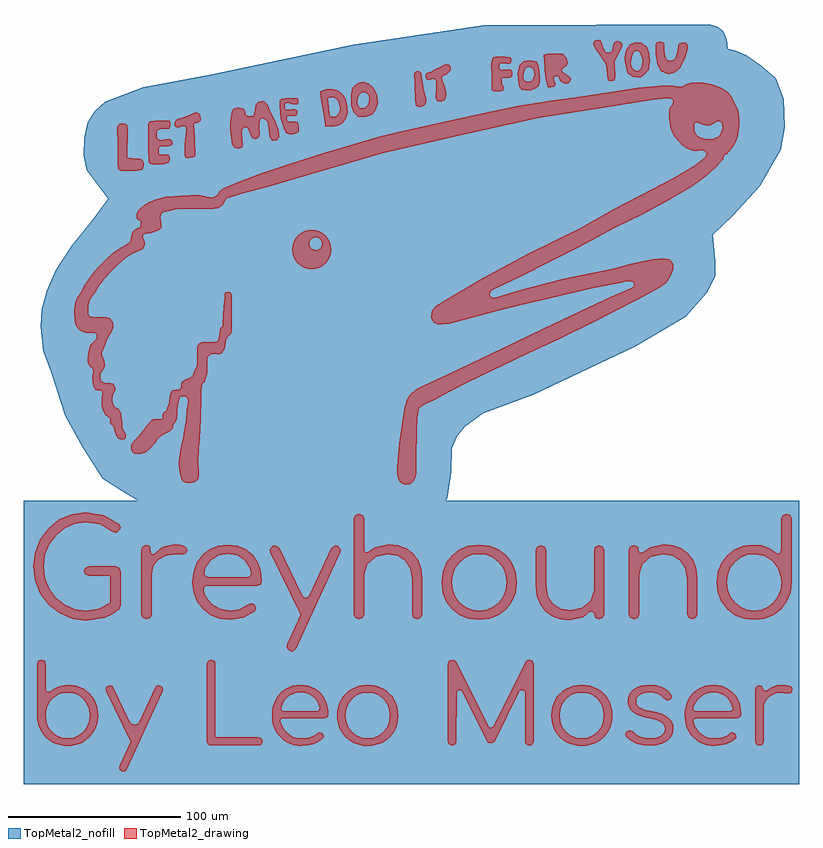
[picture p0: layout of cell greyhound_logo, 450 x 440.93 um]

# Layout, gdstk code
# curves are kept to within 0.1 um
import gdstk
lib = gdstk.Library(unit=1e-6, precision=1e-09)
def R(c, l, rs):  # rectangles x0, y0, x1, y1
    for r in rs: c.add(gdstk.rectangle(r[:2], r[2:], *l))
def P(c, l, *ps):  # polygons
    for p in ps: c.add(gdstk.Polygon(p, *l))
TopMetal2_drawing = (134, 0)
TopMetal2_nofill = (134, 23)

greyhound_logo = lib.new_cell('greyhound_logo')
P(greyhound_logo, TopMetal2_drawing, [(198.46,395.44),(194.18,395.61),(191.615,398.22),(190.12,401.855),(189.95,405.96),(190.23,409.745),(197.245,409.745),(195.895,409.385),(194.97,408.59),(194.14,407.33),(193.7,406.13),(193.505,403.315),(193.965,401.685),(194.69,400.965),(195.55,400.4),(196.67,400.385),(197.73,400.575),(199.615,402.2),(200.22,403.565),(200.555,405.065),(200.425,407.2),(199.89,408.265),(199.295,409.025),(198.36,409.61),(197.245,409.745),(190.23,409.745),(190.63,411.99),(192.3,413.7),(194.265,415.24),(197.045,415.755),(200.295,414.645),(203.12,412.12),(205,407.67),(205.3,403.225),(203.975,399.16),(201.795,396.85)],
  [(293.555,410.51),(289.08,411.235),(287.505,412.925),(286.9,416.615),(286.66,420.79),(287.438,424.48),(293.25,424.48),(292.065,424.265),(291.09,423.64),(290.5,422.33),(289.985,420.61),(289.82,419.42),(289.865,417.765),(290.48,416.795),(291.435,415.89),(292.405,415.74),(293.435,415.77),(294.44,416.285),(295.31,416.98),(295.985,418.41),(296.52,420.065),(296.29,421.72),(295.85,423.15),(294.6,424.01),(293.25,424.48),(287.438,424.48),(287.565,425.085),(290.105,427.805),(293.215,428.2),(295.225,428.05),(297.605,427.505),(298.935,424.3),(299.42,418.795),(299.36,415.83),(298.755,413.595),(297.06,412.02)],
  [(357.42,418.32),(353.4,418.665),(350.49,420.845),(349.165,425.165),(348.61,428.925),(349.04,432.05),(349.628,433.76),(355.025,433.76),(353.725,432.665),(352.93,431.195),(352.445,429.18),(352.16,426.615),(352.57,424.895),(353.23,423.28),(354.57,422.5),(356.135,422.085),(357.29,422.765),(358.36,423.665),(358.975,425.705),(359.26,428.24),(358.115,431.84),(357.415,433.04),(356.465,433.705),(349.628,433.76),(349.98,434.785),(351.945,437.695),(355.07,438.85),(358.36,438.38),(361.485,436.155),(362.98,432.52),(363.32,427.13),(362.725,422.77),(359.86,419.775)],
  [(222.065,182.075),(220.555,182.255),(218.5,183.645),(217.23,185.52),(216.685,188.12),(216.685,192.235),(218.015,205.78),(220.435,223.685),(221.105,226.97),(222.295,231.155),(223.155,232.875),(225.535,235.46),(226.91,236.61),(228.9,237.96),(231.14,239.105),(322.775,282.73),(353.06,296.48),(353.83,297.12),(354.105,297.7),(354.235,298.575),(353.595,299.625),(352.115,300.22),(351.11,300.2),(349.51,300.01),(346.535,299.195),(329.92,296.05),(305.2,290.38),(287.7,286.13),(275.09,282.96),(255.605,277.75),(246.785,275.61),(242.805,275.18),(240.325,275.31),(238.315,276.165),(237.12,277.405),(236.565,279.115),(237.035,283.18),(239,285.66),(266.46,302.005),(292.71,316.035),(322.765,330.915),(342.24,341.895),(377.565,360.285),(389.71,367.555),(395.695,372.43),(396.16,373.98),(396.04,374.585),(394.95,375.82),(393.77,376.035),(391.505,375.73),(388.45,375.885),(384.82,377.305),(382.19,379.04),(377.585,383.915),(375.93,387.165),(375.08,390.065),(374.748,393.075),(403.115,393.075),(402.555,393),(401.685,392.58),(398.985,390.86),(398.21,390.565),(395.55,390.55),(393.865,391.02),(390.895,392.31),(390.185,392.235),(389.385,391.68),(389.14,391.27),(388.9,390.085),(389.14,387.715),(389.73,386.05),(390.88,384.555),(392.235,383.72),(393.865,382.99),(397.03,382.47),(398.87,382.575),(401.655,383.26),(402.515,383.69),(403.8,384.76),(404.385,385.655),(405.475,389.175),(405.335,390.985),(405.12,391.795),(404.78,392.34),(403.63,393),(403.115,393.075),(374.748,393.075),(374.415,396.78),(374.415,399.105),(374.845,400.725),(376.48,402.97),(376.835,403.9),(376.485,405.34),(376,405.84),(375.22,406.19),(374.225,406.31),(365.04,405.305),(299.24,394.965),(249.435,384.065),(208.04,374.315),(142.86,355.155),(126.1,350.88),(117.845,348.225),(116.86,346.985),(116.495,346.09),(115.3,344.25),(113.93,343.245),(112.5,342.56),(110.175,342.285),(97.535,342.285),(88.95,341.8),(81.025,340.11),(79.875,339.2),(79.21,337.63),(79.39,335.575),(80.12,331.46),(78.79,329.95),(75.58,328.495),(69.415,327.225),(69.11,326.015),(69.415,324.745),(69.99,323.895),(70.33,321.885),(70.03,320.47),(68.96,318.975),(67.765,318.12),(62.94,315.975),(59.19,313.74),(54.17,309.385),(50.545,305.635),(47.155,301.885),(43.77,297.71),(41.59,293.72),(38.63,289.91),(37.6,286.16),(37.36,281.26),(37.965,279.69),(45.28,279.265),(48.005,279.265),(49.94,278.6),(51.39,276.905),(51.995,274.97),(51.875,273.4),(51.33,271.645),(48.005,265.415),(45.4,258.76),(45.22,257.31),(46.13,255.68),(46.855,253.925),(47.095,251.445),(46.735,249.995),(46.16,249.015),(44.92,247.45),(44.555,245.76),(44.435,244.095),(44.73,242.78),(45.085,242.145),(45.795,241.685),(46.885,241.27),(48.485,241.04),(50.59,240.99),(51.835,240.555),(52.67,239.455),(53.08,238.325),(53.045,236.815),(51.655,233.995),(51.45,232.09),(51.875,228.46),(53.265,227.07),(54.745,226.225),(55.805,224.77),(56.23,223.805),(56.71,221.87),(57.135,218.605),(57.255,217.335),(57.165,215.82),(57.62,214.34),(59.01,211.83),(59.345,210.62),(59.19,209.59),(58.525,208.745),(57.62,208.29),(56.045,208.32),(55.14,208.865),(54.355,209.65),(52.995,211.92),(52.625,214.755),(52.325,215.565),(50.615,217.15),(50.275,217.79),(50.19,220.055),(49.845,220.87),(48.35,221.68),(47.45,222.75),(45.74,225.83),(45.355,227.755),(45.155,232.13),(45.785,234.665),(45.515,235.985),(45.1,236.52),(44.42,236.855),(42.34,236.965),(41.745,237.24),(41.2,237.765),(40.38,239.71),(40.05,241.435),(39.91,244.755),(40.475,248.51),(40.24,249.2),(39.78,249.75),(38.9,250.325),(37.995,251.475),(37.27,252.865),(37.235,255.92),(37.66,259.365),(38.445,262.03),(39.185,263.515),(41.515,265.93),(42.31,267.165),(42.46,268.21),(42.16,269.415),(41.63,269.93),(40.775,270.15),(36.08,270.3),(34.72,270.615),(31.945,272.355),(30.98,273.55),(29.92,275.455),(29.615,277.935),(29.405,282.56),(29.645,285.765),(30.1,288.82),(33.155,293.6),(35.735,298.49),(39.795,304.265),(43.645,308.625),(51.815,316.41),(55.49,319.015),(61.67,322.72),(62.08,323.945),(62.275,325.91),(62.955,328.21),(63.895,329.345),(65.435,330.585),(67.51,331.74),(67.895,332.465),(68.02,333.965),(67.595,335.095),(65.71,336.425),(65.585,338.99),(66.565,341),(68.62,343.18),(70.76,344.85),(73.025,346.345),(77.09,347.63),(82.645,349.04),(86.965,349.55),(91.285,349.85),(96.845,349.98),(102.535,349.895),(109.16,348.57),(110.66,349.08),(112.54,350.365),(113.695,352.245),(114.775,353.245),(116.175,354.13),(120.025,355.925),(126.44,358.49),(137.39,362.595),(153.64,368.07),(174.595,374.655),(207.19,384.2),(222.065,387.83),(242.87,392.305),(266.58,397.625),(287.145,401.98),(324.64,407.425),(356.335,412.385),(369.52,413.47),(377.18,413.445),(379.7,412.93),(380.855,412.93),(382.355,413.4),(384.405,414.47),(387.4,415.2),(390.82,415.37),(394.585,415.2),(398.945,414.515),(402.325,413.315),(405.575,411.735),(408.525,409.68),(410.495,407.5),(411.775,405.19),(414.43,399.205),(414.9,396.465),(415.155,390.82),(414.385,384.235),(412.76,380.345),(411.05,377.69),(409.34,375.51),(407.8,373.93),(406.11,372.77),(405.625,370.59),(400.905,365.69),(395.825,360.975),(387.845,355.35),(374.475,347.305),(359.235,339.08),(343.51,331.34),(321.45,319.645),(289.87,303.75),(272.24,295.12),(271.345,294.61),(270.545,293.7),(270.325,292.96),(270.39,292.245),(271.035,291.185),(271.62,290.86),(272.455,290.665),(273.495,290.67),(287.775,294.94),(312.045,301.355),(342.065,307.385),(352.4,310.23),(365.3,312.82),(368.49,313.195),(372.61,313.255),(374.58,312.865),(375.745,311.745),(376.835,309.93),(376.955,307.51),(376.11,304.85),(373.325,300.045),(372.24,298.74),(370.755,297.67),(355.305,289.005),(329.175,275.695),(311.575,266.99),(292.285,258.095),(257.69,241.585),(243,233.845),(232.775,228.68),(230.29,227.25),(229.2,226.045),(228.4,221.165),(227.935,213.46),(227.63,197.675),(227.87,188.605),(227.145,186.065),(226.18,184.43),(225.15,183.345),(223.7,182.375)],
  [(167.105,307.205),(164.885,307.425),(162.765,308.065),(160.815,309.11),(159.085,310.525),(157.67,312.255),(156.625,314.205),(155.985,316.325),(155.765,318.545),(155.985,320.77),(156.625,322.885),(157.67,324.84),(158.388,325.715),(169.51,325.715),(168.03,325.42),(166.82,324.61),(166,323.415),(165.705,321.95),(166,320.485),(166.82,319.29),(168.03,318.485),(168.745,318.265),(169.51,318.185),(170.97,318.475),(172.205,319.29),(173.03,320.51),(173.32,321.95),(173.03,323.39),(172.205,324.61),(170.97,325.43),(169.51,325.715),(158.388,325.715),(159.085,326.565),(160.815,327.985),(162.765,329.025),(164.885,329.67),(167.105,329.89),(169.33,329.67),(171.445,329.025),(173.4,327.985),(175.125,326.565),(176.545,324.84),(177.585,322.885),(178.23,320.77),(178.45,318.545),(178.23,316.325),(177.585,314.205),(176.545,312.255),(175.125,310.525),(173.4,309.11),(171.445,308.065),(169.33,307.425)],
  [(119.705,103.605),(113.75,104.295),(108.47,106.355),(104.05,109.715),(100.69,114.135),(98.63,119.475),(97.94,125.45),(98.59,131.46),(100.535,136.76),(103.695,141.22),(104.6,141.945),(118.525,141.945),(113.065,141.025),(108.625,138.255),(105.465,133.975),(104.92,132.155),(104.755,130.625),(105,129.5),(106.09,128.835),(107.63,128.515),(129.52,128.515),(130.51,128.675),(131.42,129.175),(131.955,130.04),(131.98,130.85),(131.175,133.975),(128.19,138.255),(123.885,141.025),(118.525,141.945),(104.6,141.945),(107.84,144.54),(112.87,146.66),(118.525,147.37),(124.005,146.68),(128.815,144.62),(132.785,141.415),(135.73,137.155),(137.615,132.03),(138.245,126.235),(137.46,124.19),(135.415,123.485),(107.435,123.485),(105.895,123.34),(104.925,122.935),(104.35,121.815),(104.425,120.705),(105.245,117.65),(108.705,113.035),(113.655,110.03),(119.705,109.03),(125.36,109.97),(129.995,112.485),(132.115,113.27),(133.845,112.64),(134.865,110.52),(134.005,108.715),(127.405,105.02)],
  [(264.265,103.605),(258.355,104.315),(253.03,106.435),(248.61,109.795),(245.25,114.215),(243.13,119.535),(242.425,125.45),(243.13,131.36),(245.25,136.685),(248.61,141.16),(249.538,141.87),(264.265,141.87),(259.985,141.34),(256.095,139.745),(252.855,137.215),(250.36,133.855),(248.825,129.905),(248.315,125.45),(248.825,121.03),(250.36,117.04),(252.855,113.74),(256.095,111.23),(259.985,109.635),(264.265,109.105),(268.585,109.635),(272.435,111.23),(275.66,113.74),(278.095,117.04),(279.625,121.03),(280.135,125.45),(279.625,129.905),(278.095,133.855),(275.66,137.215),(272.435,139.745),(268.585,141.34),(264.265,141.87),(249.538,141.87),(253.03,144.54),(258.355,146.66),(264.265,147.37),(270.16,146.66),(275.42,144.54),(279.84,141.16),(283.2,136.685),(285.38,131.36),(286.105,125.45),(285.4,119.535),(283.28,114.215),(279.9,109.795),(275.42,106.435),(270.16,104.315)],
  [(423.83,103.605),(417.98,104.315),(412.675,106.435),(408.235,109.875),(404.82,114.37),(402.695,119.675),(401.99,125.525),(402.675,131.36),(404.74,136.605),(408.06,141.085),(409.06,141.87),(423.83,141.87),(419.55,141.34),(415.66,139.745),(412.42,137.215),(409.925,133.855),(408.395,129.925),(407.88,125.525),(408.395,121.11),(409.925,117.12),(412.42,113.8),(415.66,111.23),(419.55,109.635),(423.83,109.105),(428.095,109.635),(431.925,111.23),(435.145,113.8),(437.58,117.12),(439.17,121.11),(439.7,125.525),(439.545,127.885),(437.855,133.46),(434.36,137.94),(429.565,140.885),(423.83,141.87),(409.06,141.87),(412.36,144.46),(417.505,146.64),(423.2,147.37),(428.095,146.82),(432.55,145.17),(436.42,142.635),(437.51,142.145),(438.83,142.615),(439.36,143.675),(439.545,144.73),(439.545,162.295),(440.41,164.495),(442.61,165.36),(444.73,164.495),(445.595,162.295),(445.67,125.525),(444.945,119.675),(442.765,114.37),(439.385,109.875),(434.91,106.435),(429.665,104.315)],
  [(25.53,30.51),(23.105,30.65),(20.79,31.08),(18.585,31.795),(16.49,32.8),(14.59,34.085),(12.895,35.585),(11.405,37.3),(10.125,39.23),(9.12,41.325),(8.405,43.525),(7.975,45.845),(7.83,48.27),(7.83,61.515),(25.53,61.515),(23.11,61.315),(20.865,60.715),(18.81,59.725),(16.935,58.33),(15.365,56.625),(14.15,54.7),(13.295,52.55),(12.735,49.86),(12.67,48.27),(13.085,44.69),(14.325,41.46),(16.345,38.77),(18.975,36.685),(22.075,35.395),(25.53,34.965),(28.985,35.395),(32.09,36.685),(34.745,38.77),(36.735,41.46),(38.025,44.69),(38.455,48.27),(38.025,51.835),(36.735,55.02),(34.745,57.74),(32.09,59.795),(28.985,61.085),(25.53,61.515),(7.83,61.515),(7.895,78.065),(8.055,79.055),(8.53,79.85),(9.33,80.375),(10.315,80.55),(11.3,80.375),(12.095,79.85),(12.625,79.055),(12.8,78.065),(12.815,63.085),(13.23,62.325),(14.075,61.875),(14.91,61.93),(18.465,64.185),(22.075,65.525),(26.04,65.97),(28.4,65.825),(30.64,65.38),(32.76,64.645),(34.765,63.615),(36.63,62.355),(38.28,60.875),(39.715,59.175),(40.94,57.25),(41.94,55.185),(42.66,53),(43.085,50.695),(43.23,48.27),(43.085,45.845),(42.64,43.525),(41.905,41.325),(40.875,39.23),(39.62,37.3),(38.135,35.585),(36.435,34.085),(34.51,32.8),(32.445,31.795),(30.26,31.08),(27.955,30.65)],
  [(161.715,30.51),(159.235,30.645),(156.895,31.065),(154.685,31.76),(152.61,32.735),(150.715,33.99),(149.03,35.455),(147.56,37.14),(146.31,39.04),(145.335,41.14),(144.635,43.37),(144.22,45.725),(144.08,48.205),(144.21,50.715),(144.605,53.075),(145.26,55.295),(146.18,57.375),(147.365,59.295),(149.378,61.575),(160.76,61.575),(158.445,61.39),(156.335,60.83),(154.435,59.895),(152.74,58.585),(151.3,56.97),(150.175,55.115),(149.36,53.02),(149.665,51.34),(150.43,50.87),(151.21,50.69),(170.255,50.69),(170.805,50.85),(171.495,51.45),(171.745,53.02),(171.01,55.115),(169.96,56.97),(168.595,58.585),(166.955,59.895),(165.105,60.83),(163.04,61.39),(160.76,61.575),(149.378,61.575),(150.325,62.45),(152.1,63.675),(154.075,64.68),(156.175,65.395),(158.405,65.825),(160.76,65.97),(163.05,65.83),(165.2,65.415),(167.22,64.715),(169.1,63.74),(170.81,62.55),(172.315,61.145),(173.615,59.53),(174.705,57.695),(175.595,55.685),(176.23,53.54),(176.615,51.26),(176.74,48.845),(176.58,47.92),(176.105,47.19),(175.375,46.76),(174.45,46.615),(150.355,46.595),(149.55,46.445),(149.19,46.1),(148.94,44.9),(149.105,43.895),(150,41.89),(151.21,39.895),(152.8,38.15),(154.695,36.725),(156.815,35.715),(159.155,35.105),(161.715,34.9),(164.01,35.09),(166.3,35.665),(168.415,36.585),(170.9,38.18),(171.775,38.34),(173.175,37.83),(173.795,37.015),(174.005,36.11),(173.83,35.33),(173.305,34.645),(170.915,33.005),(167.955,31.655),(164.77,30.795)],
  [(199.6,30.51),(197.145,30.65),(194.805,31.08),(192.59,31.795),(190.495,32.8),(188.595,34.055),(186.915,35.52),(185.445,37.205),(184.19,39.105),(183.19,41.2),(182.47,43.415),(182.04,45.75),(181.9,48.205),(182.04,50.66),(182.47,53),(183.19,55.215),(184.19,57.31),(185.445,59.235),(187.568,61.515),(199.6,61.515),(196.13,61.085),(192.975,59.795),(190.35,57.74),(188.33,55.02),(187.085,51.82),(186.675,48.205),(187.085,44.625),(188.33,41.395),(190.35,38.72),(192.975,36.685),(196.13,35.395),(199.6,34.965),(203.1,35.395),(206.22,36.685),(208.83,38.72),(210.805,41.395),(212.045,44.625),(212.46,48.205),(212.045,51.82),(210.805,55.02),(208.83,57.74),(206.22,59.795),(203.1,61.085),(199.6,61.515),(187.568,61.515),(188.595,62.42),(190.495,63.675),(192.59,64.68),(194.805,65.395),(197.145,65.825),(199.6,65.97),(202.05,65.825),(204.375,65.395),(206.57,64.68),(208.64,63.675),(210.54,62.42),(212.22,60.94),(213.69,59.235),(214.945,57.31),(215.975,55.215),(216.71,53),(217.15,50.66),(217.3,48.205),(217.155,45.75),(216.725,43.415),(216.01,41.2),(215.005,39.105),(213.75,37.205),(212.27,35.52),(210.565,34.055),(208.64,32.8),(206.57,31.795),(204.375,31.08),(202.05,30.65)],
  [(323.815,30.51),(321.36,30.65),(319.02,31.08),(316.805,31.795),(314.71,32.8),(312.81,34.055),(311.13,35.52),(309.66,37.205),(308.405,39.105),(307.405,41.2),(306.685,43.415),(306.255,45.75),(306.115,48.205),(306.255,50.66),(306.685,53),(307.405,55.215),(308.405,57.31),(309.66,59.235),(311.783,61.515),(323.815,61.515),(320.345,61.085),(317.19,59.795),(314.565,57.74),(312.545,55.02),(311.305,51.82),(310.89,48.205),(311.305,44.625),(312.545,41.395),(314.565,38.72),(317.19,36.685),(320.345,35.395),(323.815,34.965),(327.315,35.395),(330.435,36.685),(333.045,38.72),(335.02,41.395),(336.26,44.625),(336.675,48.205),(336.26,51.82),(335.02,55.02),(333.045,57.74),(330.435,59.795),(327.315,61.085),(323.815,61.515),(311.783,61.515),(312.81,62.42),(314.71,63.675),(316.805,64.68),(319.02,65.395),(321.36,65.825),(323.815,65.97),(326.265,65.825),(328.59,65.395),(330.785,64.68),(332.855,63.675),(334.755,62.42),(336.435,60.94),(337.905,59.235),(339.16,57.31),(340.19,55.215),(340.925,53),(341.365,50.66),(341.515,48.205),(341.37,45.75),(340.94,43.415),(340.225,41.2),(339.22,39.105),(337.965,37.205),(336.485,35.52),(334.78,34.055),(332.855,32.8),(330.785,31.795),(328.59,31.08),(326.265,30.65)],
  [(401.17,30.51),(398.69,30.645),(396.345,31.065),(394.14,31.76),(392.065,32.735),(390.165,33.99),(388.485,35.455),(387.015,37.14),(385.76,39.04),(384.785,41.14),(384.09,43.37),(383.675,45.725),(383.535,48.205),(383.665,50.715),(384.06,53.075),(384.715,55.295),(385.635,57.375),(386.815,59.295),(388.828,61.575),(400.215,61.575),(397.9,61.39),(395.79,60.83),(393.89,59.895),(392.195,58.585),(390.755,56.97),(388.685,53.68),(388.465,52.555),(388.565,51.9),(388.8,51.365),(389.57,50.885),(390.61,50.69),(409.61,50.69),(410.675,50.985),(411.045,51.32),(411.265,51.88),(411.2,53.02),(410.465,55.115),(409.415,56.97),(408.045,58.585),(406.41,59.895),(404.56,60.83),(402.495,61.39),(400.215,61.575),(388.828,61.575),(389.775,62.45),(391.555,63.675),(393.53,64.68),(395.63,65.395),(397.86,65.825),(400.215,65.97),(402.5,65.83),(404.655,65.415),(406.675,64.715),(408.555,63.74),(410.265,62.55),(411.77,61.145),(413.065,59.53),(414.16,57.695),(415.05,55.685),(415.685,53.54),(416.07,51.26),(416.195,48.845),(416.035,47.92),(415.56,47.19),(414.825,46.76),(413.905,46.615),(390.085,46.615),(389.045,46.2),(388.64,45.86),(388.625,44.13),(389.455,41.89),(390.665,39.895),(392.255,38.15),(394.15,36.725),(396.265,35.715),(398.605,35.105),(401.17,34.9),(403.46,35.09),(405.755,35.665),(407.87,36.585),(410.355,38.18),(411.23,38.34),(412.63,37.83),(413.25,37.015),(413.46,36.11),(413.28,35.33),(412.755,34.645),(410.37,33.005),(407.41,31.655),(404.225,30.795)],
  [(178.22,389.765),(174.95,390.065),(174.95,391.215),(174.165,396.96),(172.895,403.49),(172.412,406.82),(178.4,406.82),(176.28,406.395),(177.615,395.63),(181.365,395.87),(182.935,397.445),(183.78,399.745),(183.48,402.04),(182.57,404.76),(181.6,405.805),(180.15,406.585),(178.4,406.82),(172.412,406.82),(171.93,410.145),(173.67,411.065),(175.455,411.555),(177.615,411.755),(179.52,411.475),(182.015,410.85),(184.025,409.36),(185.36,407.95),(186.45,406.16),(187.09,404.265),(187.6,401.965),(187.885,398.21),(187.53,396.17),(186.905,394.375),(185.475,392.245),(184.055,391.11),(182.33,390.43),(180.395,389.94)],
  [(95.845,182.92),(93.12,183.525),(91.85,185.035),(90.7,188.3),(90.16,191.205),(90.095,194.47),(90.64,199.61),(91.49,204.63),(92.515,209.045),(94.21,219.51),(94.695,226.04),(95.42,230.82),(95.18,232.09),(94.575,232.815),(93.785,233.3),(91.85,233.36),(90.52,232.755),(89.915,230.7),(89.07,225.68),(89.13,223.14),(88.95,220.42),(88.285,218.905),(86.77,216.91),(86.35,214.795),(85.71,213.925),(84.835,213.22),(83.05,212.19),(79.755,210.56),(77.515,208.565),(76.31,206.415),(72.98,202.695),(70.17,200.76),(68.265,200.095),(66.145,200.035),(64.485,200.185),(63.275,200.975),(62.64,201.7),(62.43,203.06),(62.43,204.42),(62.76,205.78),(68.92,212.785),(71.06,215.865),(74.565,219.67),(75.43,219.96),(79.91,220.015),(80.415,220.205),(80.595,220.74),(80.635,223.05),(81.665,224.505),(82.69,224.805),(83.63,227.24),(84.445,229.72),(85.215,235.065),(85.685,235.99),(86.565,236.91),(88.275,237.305),(90.215,237.505),(90.985,238.02),(91.37,238.79),(91.37,240.585),(91.995,241.845),(93.12,242.665),(96.975,244.52),(98.13,245.415),(98.555,247.125),(100.44,250.72),(100.735,252.26),(100.825,262.115),(101.55,263.765),(103.175,264.66),(105.08,264.875),(111.045,265.025),(112.52,265.455),(113.225,266.63),(114.04,272.19),(114.445,273.215),(115.37,274.095),(115.62,276.125),(116.575,292.36),(116.785,293.16),(117.115,293.705),(118.99,293.9),(120.215,293.34),(120.58,292.39),(120.64,270.98),(120.34,269.83),(118.28,267.955),(117.315,265.475),(116.56,261.135),(115.835,259.785),(114.785,258.42),(113.845,257.885),(110.615,257.99),(108.735,257.65),(107.88,257.305),(106.765,255.935),(106.51,254.57),(106.425,246.785),(105.74,244.05),(104.97,241.91),(103.605,240.54),(103.005,237.55),(102.66,220.61),(102.195,208.625),(101.59,203.665),(101.225,195.015),(101.59,189.695),(101.47,186.61),(100.925,185.095),(98.565,183.525)],
  [(59.705,364.06),(56.2,364.24),(55.11,364.695),(54.745,365.69),(54.595,367.66),(54.655,380.27),(54.23,389.16),(54.715,390.46),(55.865,391.395),(57.285,391.7),(58.98,391.395),(60.13,390.55),(60.43,388.435),(60.04,378.605),(60.13,371.95),(60.555,371.56),(61.37,371.345),(66.935,371.285),(68.08,371.045),(69.08,370.105),(69.625,368.99),(69.625,367.625),(69.29,365.965),(68.72,364.725),(65.605,364.12)],
  [(75.42,367.77),(73.54,368.41),(72.555,369.31),(72.17,391.42),(72.725,392.53),(73.965,393.09),(76.23,393.3),(83.46,393.515),(84.7,393.13),(85,391.89),(85.04,390.265),(84.4,388.725),(82.82,388.515),(78.885,388.425),(77.345,387.57),(77.345,384.065),(77.855,382.74),(79.27,382.055),(82.83,382.445),(84.775,382.49),(85.355,382.295),(85.855,381.86),(86.145,381.115),(86.23,380.31),(86.07,379.53),(85.725,378.935),(85.125,378.61),(80.635,378.52),(79.115,378.335),(78.455,377.52),(78.23,376.315),(78.455,373.97),(79.055,373.63),(82.645,373.76),(84.015,373.46),(84.745,371.96),(84.615,370.335),(83.76,368.84),(81.28,368.025)],
  [(95.135,371.62),(93.98,371.835),(93.425,373.16),(93.555,379.705),(94.325,387.115),(94.255,389.33),(93.945,389.78),(92.86,390.17),(91.51,390),(89.99,389.38),(88.89,389.365),(88.255,389.76),(87.785,390.595),(87.585,391.695),(87.765,392.515),(88.165,393.3),(89.19,394.07),(93.64,395.655),(99.2,397.965),(100.61,397.92),(102.02,396.94),(102.49,395.825),(102.66,393.945),(102.405,393.045),(101.035,392.15),(99.2,391.765),(98.725,391.335),(98.6,390.78),(99.24,383.21),(99.455,372.99),(98.255,372.135),(96.63,371.665)],
  [(124.755,376.88),(122.335,377.485),(121.005,379.36),(120.4,383.475),(119.975,388.19),(119.915,392.18),(120.4,396.175),(121.005,399.075),(121.91,400.165),(123.545,400.83),(124.965,400.86),(126.265,400.53),(127.28,400.215),(128.035,399.44),(128.425,398.38),(128.625,397.08),(129.215,396.4),(130.225,395.9),(132.055,395.765),(132.86,396.085),(133.37,396.475),(133.73,397.035),(134.55,402.585),(136.37,404.18),(137.815,404.52),(139.245,404.435),(140.4,403.605),(141.75,401.515),(145.68,393.39),(147.735,388.31),(148.22,384.08),(146.89,381.84),(144.23,381.78),(142.775,384.02),(142.23,388.795),(141.565,392.545),(139.935,394.24),(138.42,394.725),(137.515,394.6),(136.85,393.33),(136.85,385.955),(136.545,384.26),(135.64,383.17),(134.49,382.625),(132.855,382.99),(131.045,386.495),(130.015,388.975),(128.745,389.52),(127.595,389.22),(126.93,388.37),(126.63,386.62),(127.17,379.36),(126.63,377.665)],
  [(154.33,385.29),(152.39,386.015),(151.245,388.435),(149.245,394.48),(148.705,401.68),(148.645,404.76),(149.13,405.41),(149.82,405.88),(152.135,406.215),(157.965,406.375),(159.03,405.935),(159.245,405.52),(159.315,403.855),(158.98,403.1),(157.955,402.705),(156.12,402.72),(154.965,403.045),(154.34,403.445),(153.675,403.585),(152.46,403.495),(151.83,403.255),(151.485,402.82),(151.375,402.32),(151.47,400.64),(151.575,400.235),(151.97,399.805),(153.095,399.555),(155.91,399.935),(157.32,399.925),(157.885,399.71),(158.595,398.935),(158.595,397.33),(158.2,396.475),(157.835,396.235),(153.735,395.96),(152.755,395.48),(152.575,395.04),(152.62,393.735),(152.815,393.115),(153.16,392.84),(154.045,392.595),(156.625,392.85),(157.81,392.77),(158.925,392.365),(159.375,391.31),(159.655,388.645),(159.47,386.86),(158.14,386.075),(156.27,385.525)],
  [(228.695,401.255),(227.495,402.285),(226.585,419.42),(226.635,420.5),(227.415,421.695),(228.78,421.915),(229.335,421.85),(229.85,421.57),(230.515,420.72),(232.07,410.92),(233.44,405.62),(233.225,403.18),(232.07,401.815),(230.79,401.255)],
  [(242.295,404.335),(240.025,404.635),(239.13,406.605),(239.39,415.29),(239.235,416.415),(239.02,416.855),(238.33,417.46),(237.85,417.54),(235.145,416.965),(234.475,417.065),(233.485,417.72),(233.315,418.285),(233.285,419.455),(233.4,419.945),(233.96,420.76),(234.98,421.355),(236.335,421.78),(238.92,423),(244.045,425.72),(245.545,425.96),(246.74,425.845),(247.275,425.315),(247.81,423.6),(247.675,422.7),(247.255,421.915),(245.415,420.2),(243.49,419.475),(242.465,418.45),(242.765,416.74),(244.305,413.145),(245.16,409.125),(244.99,406.515),(244.045,405.065)],
  [(272.87,410.265),(272.115,410.78),(271.54,411.595),(271.235,425.63),(271.48,427.865),(271.825,428.89),(272.53,430.035),(273.9,430.38),(279.265,430.325),(281.015,430.13),(282.455,429.685),(282.815,429.005),(282.825,427.365),(282.605,426.86),(282.23,426.545),(281.185,426.33),(277.54,426.615),(276.615,426.355),(276.055,425.675),(275.93,424.1),(276.325,423.205),(276.785,422.86),(277.345,422.72),(281.19,423.02),(282.175,422.905),(283.01,422.56),(283.445,421.77),(283.52,420.94),(283.335,419.215),(282.655,418.575),(281.64,418.25),(277.165,418.07),(277.26,414.885),(278.075,413.67),(278.425,412.68),(278.325,411.555),(278.105,411.08),(277.66,410.725),(276.61,410.375)],
  [(304.22,412.545),(303.96,413.06),(302.98,417.635),(302.425,422.64),(301.825,431.62),(304.26,432.09),(312.685,432.05),(314.91,429.865),(315.765,426.83),(314.78,424.865),(312.77,423.75),(312.13,422.51),(312.345,421.53),(316.54,418.845),(317.285,417.85),(317.32,417.12),(317.095,416.455),(316.705,415.755),(315.81,415.115),(314.705,414.78),(313.33,414.985),(311.26,416.55),(310.735,418.085),(310.15,418.935),(309.68,419.13),(308.775,419.14),(307.735,418.625),(307.44,417.9),(308.455,413.83),(307.64,412.975)],
  [(307.725,424.135),(305.63,424.65),(305.46,426.49),(305.59,428.925),(307.725,429.27),(308.795,429.44),(310.55,429.01),(311.32,427.73),(311.445,425.76),(309.95,424.65)],
  [(340.825,416.27),(339.46,416.44),(338.775,417.72),(338.045,425.845),(330.735,436.71),(330.455,437.845),(330.735,438.89),(331.31,439.605),(332.165,440.025),(333.24,440.18),(334.265,439.98),(334.8,439.595),(335.165,439.1),(336.32,435.2),(337.045,433.86),(337.775,433.04),(338.45,432.59),(340.005,432.645),(340.67,432.985),(341.47,434.235),(342.325,437.865),(342.94,438.72),(343.65,439.275),(344.85,439.435),(345.79,439.105),(346.815,438.42),(347.195,437.62),(347.2,436.455),(342.665,427.175),(343.265,418.535),(342.58,416.78)],
  [(373.84,420.115),(369.995,421.955),(367.81,425.375),(366.83,431.965),(366.57,437.395),(367.34,438.765),(369.995,439.06),(371.045,438.6),(371.745,437.865),(371.66,434.06),(371.83,431.875),(372.6,429.44),(373.795,428.415),(375.595,428.07),(377.27,428.605),(378.205,429.74),(379.36,433.675),(379.83,437.14),(380.73,438.29),(381.915,438.625),(384.13,438.385),(384.835,437.865),(385.225,437.095),(385.4,435.605),(383.465,429.14),(380.73,423.835),(377.435,421.23)],
  [(354.145,104),(351.945,104.785),(351.08,106.985),(351.08,143.91),(351.355,145.145),(351.945,146.11),(352.775,146.71),(354.145,146.975),(355.8,146.5),(356.2,146.115),(356.635,144.47),(357.23,143.17),(357.935,142.74),(358.63,142.65),(359.805,143.105),(363.415,145.795),(371.425,147.445),(376.71,146.86),(381.405,145.09),(385.39,142.185),(388.4,138.175),(390.285,133.245),(390.91,127.415),(390.91,106.985),(390.045,104.865),(387.925,104),(385.725,104.865),(384.86,106.985),(384.86,127.415),(383.88,133.56),(380.935,138.02),(376.475,140.79),(370.8,141.71),(363.805,140.22),(358.935,136.055),(357.13,130.24),(357.13,106.985),(356.265,104.785)],
  [(316.59,103.53),(311.285,104.12),(306.53,105.885),(302.605,108.775),(299.62,112.72),(297.735,117.71),(297.105,123.565),(297.105,143.99),(297.97,146.11),(300.09,146.975),(302.29,146.11),(303.155,143.99),(303.155,123.565),(304.115,117.395),(307.005,112.88),(311.52,110.165),(317.215,109.265),(324.13,110.755),(329.08,114.84),(330.885,120.735),(330.885,143.99),(331.675,146.11),(333.87,146.975),(336.07,146.11),(336.935,143.99),(336.935,107.065),(336.07,104.865),(333.875,104),(332.135,104.52),(331.715,104.975),(331.305,105.94),(331.085,107.195),(330.72,107.795),(329.93,108.28),(328.88,108.33),(327.955,108.055),(327.2,107.56),(325.06,105.435),(324.6,105.18)],
  [(194.575,104),(192.375,104.785),(191.515,106.985),(191.515,162.295),(192.375,164.495),(194.575,165.36),(196.7,164.495),(197.565,162.295),(197.565,145.8),(197.63,144.435),(197.97,143.3),(199.025,142.89),(200.125,143.095),(203.85,145.795),(211.86,147.445),(217.145,146.86),(221.84,145.09),(225.825,142.185),(228.83,138.175),(230.72,133.245),(231.345,127.415),(231.345,106.985),(230.48,104.865),(228.36,104),(226.16,104.865),(225.295,106.985),(225.295,127.415),(224.315,133.56),(221.37,138.02),(216.91,140.79),(211.235,141.71),(204.24,140.22),(199.37,136.055),(197.565,130.24),(197.565,106.985),(196.7,104.785)],
  [(155.845,85.3),(154.43,85.615),(153.075,86.56),(152.625,87.97),(152.935,89.385),(160.715,106.67),(143.195,142.97),(142.88,144.385),(144.61,146.74),(146.025,147.055),(148.38,145.405),(161.26,118.26),(162.155,116.975),(163.61,116.505),(165.02,116.99),(166,118.185),(178.315,145.325),(180.67,147.055),(182.085,146.74),(183.89,144.46),(183.58,143.045),(158.12,87.11)],
  [(71.305,104),(69.105,104.785),(68.32,106.985),(68.32,143.99),(68.6,145.29),(69.105,146.19),(70.035,146.7),(71.305,146.975),(72.37,146.81),(73.055,146.235),(73.475,145.23),(73.585,143.36),(73.86,142.315),(74.33,141.925),(75.295,141.78),(75.99,141.94),(76.335,142.18),(79.3,144.89),(80.42,145.7),(81.91,146.37),(87.725,147.445),(90.47,147.27),(92.91,146.585),(94.385,145.54),(94.875,144.145),(94.8,143.44),(93.775,141.95),(91.97,141.555),(87.65,141.79),(82.285,141.005),(77.985,138.65),(75.215,135.035),(74.29,130.475),(74.29,106.985),(73.505,104.785)],
  [(36.11,103.215),(28.115,104.275),(20.79,107.455),(14.505,112.445),(9.63,118.925),(6.57,126.49),(5.545,134.72),(6.57,142.89),(9.63,150.43),(14.445,156.915),(20.71,161.905),(28.055,165.085),(36.11,166.145),(46.4,164.495),(55.36,159.23),(56.22,157.425),(55.91,156.245),(55.045,155.54),(54.335,154.595),(53.16,154.28),(51.195,155.07),(44.515,159.075),(36.11,160.33),(29.745,159.45),(23.855,156.795),(18.765,152.73),(14.82,147.445),(12.345,141.32),(11.52,134.72),(12.345,128),(14.82,121.835),(18.705,116.55),(23.775,112.485),(29.685,109.89),(36.11,109.03),(43.455,110.15),(50.25,113.505),(50.25,129.22),(37.995,129.22),(35.795,130.005),(34.93,131.97),(35.795,133.855),(37.995,134.64),(53.16,134.64),(55.36,133.775),(56.22,131.655),(56.22,112.17),(55.36,109.97),(51.415,107.02),(46.89,104.905)],
  [(426.89,30.825),(425.875,30.985),(425.11,31.465),(424.63,32.225),(424.475,33.245),(424.475,63.23),(424.63,64.25),(425.11,65.015),(425.875,65.49),(426.89,65.65),(427.82,65.49),(428.26,65.21),(429.16,63.23),(429.615,62.76),(430.14,62.495),(430.89,62.47),(431.49,62.745),(434.025,64.57),(437,65.67),(440.2,66.035),(442.585,65.86),(445.19,65.01),(445.665,64.535),(445.99,63.36),(445.93,62.785),(445.195,61.51),(444.505,61.16),(443.475,61.04),(439.12,61.38),(437.855,61.29),(435.79,60.81),(433.94,60.02),(432.305,58.9),(430.995,57.535),(430.06,55.975),(429.5,54.225),(429.31,52.28),(429.31,33.245),(429.15,32.225),(428.675,31.465),(427.91,30.985)],
  [(363.225,30.51),(359.355,30.84),(355.645,31.845),(352.37,33.45),(349.79,35.6),(349.315,36.35),(349.155,37.065),(349.41,38.085),(350.175,38.975),(350.95,39.405),(351.765,39.55),(352.765,39.325),(355.375,37.08),(357.62,35.92),(360.295,35.205),(363.225,34.965),(367.125,35.345),(368.655,35.825),(369.91,36.49),(370.89,37.315),(371.595,38.26),(372.035,39.32),(372.2,40.505),(372.06,41.6),(371.645,42.605),(370.95,43.51),(369.97,44.325),(367.09,45.66),(359.98,47.215),(357.445,48),(355.3,48.965),(353.545,50.115),(352.21,51.455),(351.255,52.92),(350.68,54.51),(350.49,56.23),(350.715,58.42),(351.38,60.35),(352.495,62.02),(354.055,63.425),(355.98,64.535),(358.13,65.335),(360.5,65.81),(363.095,65.97),(367.03,65.605),(370.42,64.505),(373.235,62.82),(374.545,61.76),(375.495,60.66),(376.005,59.23),(375.94,58.61),(375.7,58.125),(375.405,57.71),(374.325,57.115),(373.11,57.075),(372.505,57.295),(371.5,58.01),(369.8,59.57),(367.81,60.685),(365.53,61.355),(362.97,61.575),(359.82,61.21),(357.365,60.115),(355.79,58.52),(355.395,57.58),(355.265,56.545),(355.39,55.455),(355.76,54.48),(356.375,53.61),(357.24,52.855),(359.975,51.645),(367.405,50.025),(370.085,49.18),(372.275,48.145),(373.985,46.935),(375.265,45.58),(376.18,44.07),(376.73,42.4),(376.915,40.565),(376.465,37.795),(375.13,35.345),(373.06,33.31),(370.29,31.78),(366.965,30.825)],
  [(248.62,30.825),(247.665,31),(246.84,31.525),(246.315,32.355),(246.14,33.31),(246.14,78.065),(246.315,79.055),(246.84,79.85),(247.665,80.375),(248.62,80.55),(249.91,80.23),(250.85,79.275),(269.595,42.025),(270.085,41.465),(271.06,41.12),(272.145,41.46),(272.82,42.02),(291.215,79.275),(292.155,80.23),(293.445,80.55),(294.385,80.375),(295.165,79.85),(295.69,79.055),(295.865,78.065),(295.865,33.31),(295.69,32.355),(295.165,31.525),(294.385,31),(293.445,30.825),(292.44,31),(291.6,31.525),(291.075,32.355),(290.895,33.31),(290.94,60.975),(290.755,61.85),(290.155,62.58),(289.715,62.795),(288.71,62.87),(287.825,62.515),(287.2,61.745),(273.2,33.18),(272.275,32.275),(271.035,31.97),(269.665,32.355),(268.74,33.5),(254.495,61.92),(253.865,62.66),(252.855,62.905),(251.895,62.615),(251.365,61.95),(251.24,61.495),(251.105,33.31),(250.93,32.355),(250.405,31.525),(249.61,31)],
  [(108.745,30.825),(107.79,31),(106.96,31.525),(106.435,32.355),(106.26,33.31),(106.26,78.065),(106.435,79.005),(106.96,79.785),(107.79,80.36),(108.745,80.55),(109.73,80.375),(110.525,79.85),(111.055,79.055),(111.23,78.065),(111.23,35.535),(136.12,35.535),(137.11,35.36),(137.905,34.835),(138.43,34.105),(138.605,33.18),(138.43,32.24),(137.905,31.465),(137.11,30.985),(136.12,30.825)],
  [(58.065,15.675),(56.92,15.925),(55.82,16.69),(55.455,17.835),(55.71,18.985),(62.015,32.99),(47.815,62.405),(47.56,63.55),(47.91,64.695),(48.96,65.46),(50.105,65.715),(51.255,65.38),(52.015,64.38),(61.29,44.83),(62.11,43.71),(63.21,43.15),(64.385,42.935),(65.68,43.2),(66.64,43.715),(67.47,44.905),(76.275,64.315),(77.07,65.365),(78.185,65.715),(79.33,65.46),(80.43,64.715),(80.795,63.615),(80.54,62.47),(59.91,17.14),(59.165,16.04)])
R(greyhound_logo, TopMetal2_nofill, [(0,8.45,450,172.84)])
P(greyhound_logo, TopMetal2_nofill, [(151.25,151.75),(121.75,153.25),(93.75,158.5),(76.5,166.75),(59.25,177),(45.875,185.625),(34.625,203.25),(24.125,222.125),(16.125,247.375),(11.375,259.75),(10,273.875),(10.5,283.875),(13.25,294.375),(18.625,306.375),(27.75,320.75),(40.125,335.875),(49,348),(36.5,364.5),(34.875,373.125),(35.125,383.125),(37.125,392.4),(41.5,399.12),(47.465,404.245),(69.295,412.595),(108.185,420.02),(190.92,437.345),(266.935,448.66),(397.875,449.375),(402.375,447.875),(405.875,445.125),(408,440.375),(408.5,435),(413,434),(419.25,431.25),(428,425.25),(436.25,418),(441,405.75),(441.5,389.5),(439.25,376.5),(427,355.25),(411.5,338),(399.69,327.035),(401.105,311.655),(401.285,302.995),(396.335,293.45),(384.135,279.66),(354.97,262.335),(295.745,234.405),(266.755,223.625),(256.325,216.02),(251.555,210.365),(248.37,203.295),(248.195,189.68),(245.72,174.125),(238.12,163.87),(220.97,156.27),(187,153.25)])

lib.write_gds('greyhound_logo.gds')
